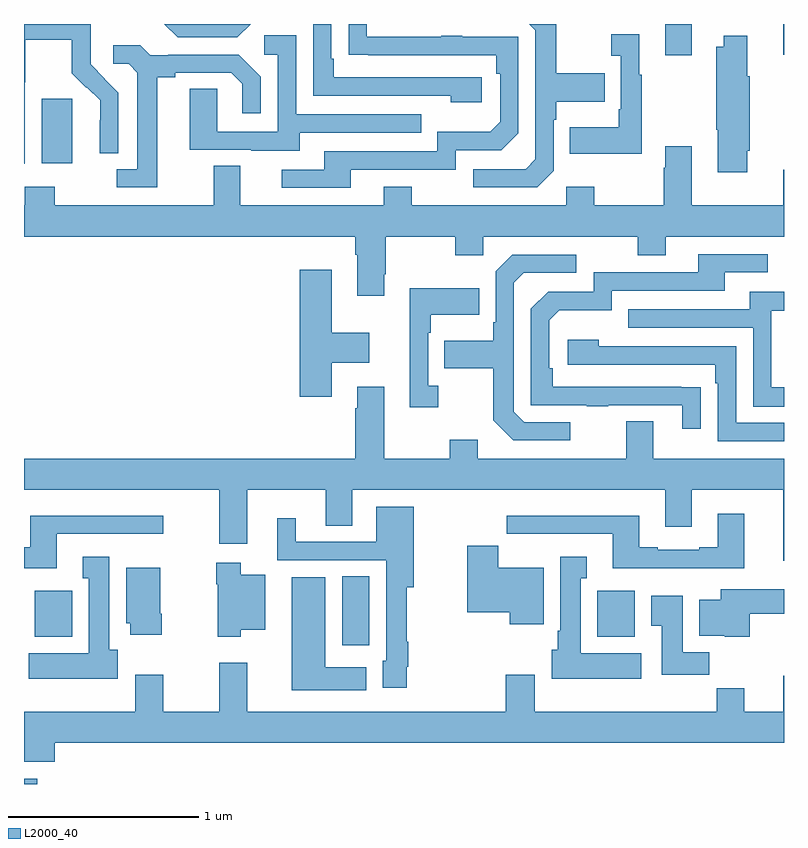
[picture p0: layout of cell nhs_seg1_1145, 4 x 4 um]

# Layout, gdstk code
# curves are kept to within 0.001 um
import gdstk
lib = gdstk.Library(unit=1e-6, precision=1e-09)
def R(c, l, rs):  # rectangles x0, y0, x1, y1
    for r in rs: c.add(gdstk.rectangle(r[:2], r[2:], *l))
def P(c, l, *ps):  # polygons
    for p in ps: c.add(gdstk.Polygon(p, *l))
L2000_40 = (2000, 40)

nhs_seg1_1145 = lib.new_cell('nhs_seg1_1145')
R(nhs_seg1_1145, L2000_40, [(173,534.199,173.071,534.226), (174.674,534.93,174.817,535.292), (173.057,534.974,173.254,535.216), (176.018,534.974,176.215,535.216), (173.093,537.465,173.254,537.805), (176.375,538.035,176.515,538.199), (176.996,538.038,177,538.199)])
P(nhs_seg1_1145, L2000_40, [(175.788,537.426),(175.788,537.695),(175.801,537.695),(175.801,537.791),(176.057,537.791),(176.057,537.939),(175.801,537.939),(175.801,538.199),(175.66,538.199),(175.692,538.167),(175.692,537.486),(175.641,537.435),(175.365,537.435),(175.365,537.339),(175.701,537.339)],
  [(174.721,537.432),(175.272,537.432),(175.272,537.534),(175.512,537.534),(175.602,537.624),(175.602,538.131),(175.307,538.131),(175.307,538.136),(175.195,538.136),(175.195,538.131),(174.805,538.131),(174.805,538.199),(174.709,538.199),(174.709,538.036),(175.486,538.035),(175.486,537.938),(175.506,537.938),(175.506,537.684),(175.453,537.631),(175.176,537.631),(175.176,537.528),(174.581,537.528),(174.581,537.432),(174.357,537.432),(174.357,537.336),(174.721,537.336)],
  [(173.004,537.892),(173.007,537.892),(173.007,538.116),(173.251,538.116),(173.251,537.941),(173.328,537.864),(173.331,537.867),(173.402,537.797),(173.402,537.692),(173.399,537.692),(173.399,537.52),(173.496,537.52),(173.496,537.838),(173.35,537.986),(173.35,538.083),(173.352,538.083),(173.352,538.199),(173,538.199),(173,537.463),(173.004,537.463)],
  [(174.194,538.199),(173.737,538.199),(173.808,538.128),(174.123,538.128)],
  [(175.408,537.918),(174.631,537.918),(174.631,538.015),(174.618,538.015),(174.618,538.199),(174.522,538.199),(174.522,537.822),(175.247,537.822),(175.247,537.788),(175.408,537.788)],
  [(176.251,537.931),(176.239,537.931),(176.239,538.144),(176.091,538.144),(176.091,538.031),(176.142,538.031),(176.142,537.751),(176.13,537.751),(176.13,537.655),(175.873,537.655),(175.873,537.515),(176.251,537.515)],
  [(174.451,537.627),(175.091,537.627),(175.091,537.723),(174.432,537.723),(174.432,538.139),(174.264,538.139),(174.264,538.038),(174.336,538.038),(174.336,537.633),(174.018,537.633),(174.018,537.857),(173.873,537.857),(173.873,537.537),(174.197,537.537),(174.197,537.533),(174.451,537.533)],
  [(176.806,537.532),(176.819,537.532),(176.819,537.925),(176.806,537.925),(176.806,538.138),(176.684,538.138),(176.684,538.078),(176.644,538.078),(176.644,537.643),(176.651,537.643),(176.651,537.42),(176.806,537.42)],
  [(173.701,537.92),(173.797,537.92),(173.797,537.942),(174.092,537.942),(174.149,537.885),(174.149,537.729),(174.246,537.729),(174.246,537.922),(174.13,538.038),(173.758,538.038),(173.758,538.035),(173.664,538.035),(173.612,538.087),(173.469,538.087),(173.469,537.99),(173.55,537.99),(173.597,537.943),(173.597,537.435),(173.487,537.435),(173.487,537.339),(173.701,537.339)],
  [(175.041,537.343),(174.893,537.343),(174.893,537.244),(174.139,537.244),(174.139,537.452),(173.999,537.452),(173.999,537.244),(173.163,537.244),(173.163,537.343),(173.003,537.343),(173.003,537.244),(173,537.244),(173,537.08),(174.743,537.08),(174.743,536.984),(174.755,536.984),(174.755,536.769),(174.895,536.769),(174.895,536.881),(174.903,536.881),(174.903,537.08),(175.27,537.08),(175.27,536.981),(175.416,536.981),(175.416,537.08),(176.23,537.08),(176.23,536.981),(176.377,536.981),(176.377,537.08),(177,537.08),(177,537.433),(176.996,537.433),(176.996,537.244),(176.515,537.244),(176.515,537.556),(176.375,537.556),(176.375,537.443),(176.368,537.443),(176.368,537.244),(176.001,537.244),(176.001,537.343),(175.854,537.343),(175.854,537.244),(175.041,537.244)],
  [(176.561,536.288),(175.784,536.289),(175.784,536.386),(175.764,536.386),(175.764,536.64),(175.817,536.693),(176.094,536.693),(176.094,536.796),(176.689,536.796),(176.689,536.892),(176.914,536.892),(176.914,536.988),(176.549,536.988),(176.549,536.892),(175.998,536.892),(175.998,536.79),(175.758,536.79),(175.668,536.7),(175.668,536.193),(175.963,536.193),(175.963,536.188),(176.075,536.188),(176.075,536.193),(176.465,536.193),(176.465,536.07),(176.561,536.07)],
  [(175.876,536.103),(175.632,536.103),(175.578,536.157),(175.578,536.838),(175.629,536.889),(175.906,536.889),(175.906,536.985),(175.569,536.985),(175.482,536.898),(175.482,536.629),(175.47,536.629),(175.47,536.533),(175.213,536.533),(175.213,536.386),(175.47,536.386),(175.47,536.113),(175.575,536.007),(175.876,536.007)],
  [(174.619,536.417),(174.817,536.417),(174.817,536.575),(174.619,536.575),(174.619,536.905),(174.452,536.905),(174.452,536.238),(174.619,536.238)],
  [(175.18,536.294),(175.128,536.294),(175.128,536.573),(175.141,536.573),(175.141,536.669),(175.397,536.669),(175.397,536.809),(175.031,536.809),(175.031,536.181),(175.18,536.181)],
  [(177,536.286),(176.934,536.286),(176.934,536.691),(177,536.691),(177,536.791),(176.819,536.791),(176.819,536.697),(176.179,536.697),(176.179,536.601),(176.838,536.601),(176.838,536.185),(177,536.185)],
  [(177,536.1),(176.748,536.1),(176.748,536.502),(176.024,536.502),(176.024,536.536),(175.863,536.536),(175.863,536.406),(176.639,536.406),(176.639,536.309),(176.652,536.309),(176.652,536.004),(177,536.004)],
  [(177,535.912),(176.311,535.912),(176.311,536.107),(176.171,536.107),(176.171,535.912),(175.387,535.912),(175.387,536.011),(175.24,536.011),(175.24,535.912),(174.895,535.912),(174.895,536.29),(174.755,536.29),(174.755,536.177),(174.743,536.177),(174.743,535.912),(173,535.912),(173,535.748),(174.028,535.748),(174.028,535.464),(174.175,535.464),(174.175,535.748),(174.587,535.748),(174.587,535.558),(174.727,535.558),(174.727,535.748),(176.375,535.748),(176.375,535.554),(176.515,535.554),(176.515,535.748),(176.996,535.748),(176.996,535.374),(177,535.374)],
  [(175.015,534.817),(175.022,534.817),(175.022,534.949),(175.015,534.949),(175.015,535.235),(175.051,535.235),(175.051,535.657),(174.854,535.657),(174.854,535.473),(174.43,535.473),(174.43,535.597),(174.332,535.597),(174.332,535.377),(174.906,535.377),(174.906,534.849),(174.887,534.849),(174.887,534.705),(175.015,534.705)],
  [(176.791,535.621),(176.651,535.621),(176.651,535.444),(176.555,535.444),(176.555,535.431),(176.335,535.431),(176.335,535.444),(176.239,535.444),(176.239,535.612),(175.542,535.612),(175.542,535.517),(175.651,535.517),(175.651,535.515),(176.099,535.515),(176.099,535.334),(176.791,535.334)],
  [(173.173,535.515),(173.734,535.515),(173.734,535.612),(173.033,535.612),(173.033,535.444),(173,535.444),(173,535.334),(173.173,535.334)],
  [(175.735,535.336),(175.495,535.336),(175.495,535.452),(175.334,535.452),(175.334,535.103),(175.556,535.103),(175.556,535.04),(175.735,535.04)],
  [(173.494,534.906),(173.449,534.906),(173.449,535.396),(173.309,535.396),(173.309,535.283),(173.342,535.283),(173.342,534.886),(173.025,534.886),(173.025,534.752),(173.494,534.752)],
  [(176.248,534.886),(175.93,534.886),(175.93,535.283),(175.963,535.283),(175.963,535.396),(175.823,535.396),(175.823,535.006),(175.808,535.006),(175.808,534.906),(175.778,534.906),(175.778,534.752),(176.248,534.752)],
  [(174.142,535.01),(174.271,535.01),(174.271,535.3),(174.142,535.3),(174.142,535.363),(174.013,535.363),(174.013,535.25),(174.02,535.25),(174.02,534.974),(174.142,534.974)],
  [(173.724,535.096),(173.716,535.096),(173.716,535.336),(173.537,535.336),(173.537,535.044),(173.558,535.044),(173.558,534.984),(173.724,534.984)],
  [(174.802,534.814),(174.586,534.814),(174.586,535.288),(174.41,535.288),(174.41,534.692),(174.802,534.692)],
  [(176.819,535.096),(177,535.096),(177,535.225),(176.666,535.225),(176.666,535.168),(176.555,535.168),(176.555,534.98),(176.688,534.98),(176.688,534.974),(176.819,534.974)],
  [(176.606,534.892),(176.467,534.892),(176.467,535.189),(176.3,535.189),(176.3,535.033),(176.357,535.033),(176.357,534.774),(176.606,534.774)],
  [(173.162,534.416),(177,534.416),(177,534.769),(176.996,534.769),(176.996,534.58),(176.791,534.58),(176.791,534.704),(176.647,534.704),(176.647,534.58),(175.687,534.58),(175.687,534.775),(175.535,534.775),(175.535,534.58),(174.175,534.58),(174.175,534.838),(174.028,534.838),(174.028,534.58),(173.733,534.58),(173.733,534.775),(173.585,534.775),(173.585,534.58),(173,534.58),(173,534.416),(173.002,534.416),(173.002,534.317),(173.162,534.317)])

lib.write_gds('nhs_seg1_1145.gds')
